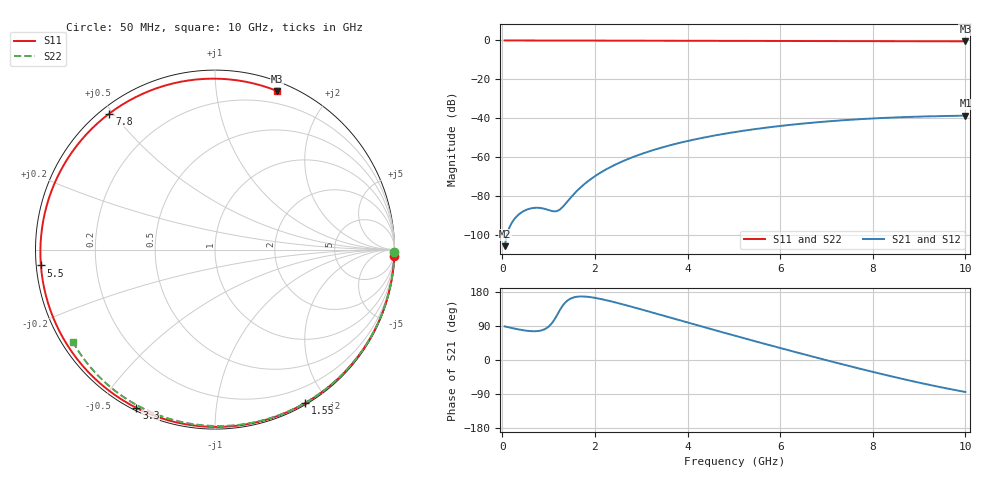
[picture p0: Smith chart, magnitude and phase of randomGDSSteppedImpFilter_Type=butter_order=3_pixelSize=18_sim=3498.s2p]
! freq	dB(S11)	phase(S11)	dB(S12)	phase(S12)
!  dB(S21)	phase(S21)	dB(S22)	phase(S22)
!S-par simulation data
#  GHz  S  DB  R 50
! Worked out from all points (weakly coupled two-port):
!   200 points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, 50 MHz to 10 GHz, reference 50 ohm
!   highest |S21| = -38.64 dB at 10 GHz (marker M1); lowest = -105.7 dB at 50 MHz (marker M2)
!   lowest |S11| = -0.5 dB at 10 GHz (marker M3), VSWR 38.29, Z = 4.11 + j73.2 ohm
!   |S11| at or under -10 dB: nowhere
!   |S22| runs from -0.5 to 0.0 dB; largest |S21 - S12| = 0
!   S11 on the Smith chart (normalised r, x): 50 MHz: 0, -57; 1.55 GHz: 0.02, -1.75; 3.3 GHz: 0.01, -0.62; 5.5 GHz: 0.01, -0.05; 7.8 GHz: 0.03, +0.49; 10 GHz: 0.08, +1.46
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0.05  -0.00 -2.0  -105.66 88.8  -105.66 88.8  -0.00 -0.9
0.4  -0.02 -15.9  -88.55 79.6  -88.55 79.6  -0.01 -6.8
0.75  -0.04 -29.6  -85.93 76.2  -85.93 76.2  -0.02 -12.7
1.15  -0.06 -44.9  -87.76 111.6  -87.76 111.6  -0.02 -19.5
1.5  -0.07 -57.8  -80.11 163.4  -80.11 163.4  -0.03 -25.3
1.55  -0.07 -59.6  -78.81 165.4  -78.81 165.4  -0.03 -26.2
1.75  -0.08 -66.7  -74.23 167.6  -74.23 167.6  -0.04 -29.5
2.05  -0.09 -77.1  -68.94 162.9  -68.94 162.9  -0.04 -34.4
2.4  -0.10 -88.7  -64.26 153.2  -64.26 153.2  -0.05 -40.1
2.85  -0.12 -102.9  -59.63 138.6  -59.63 138.6  -0.06 -47.3
3.3  -0.13 -116.4  -56.01 123.3  -56.01 123.3  -0.07 -54.4
3.4  -0.14 -119.3  -55.30 119.8  -55.30 119.8  -0.07 -56.0
4.25  -0.17 -142.8  -50.36 90.4  -50.36 90.4  -0.10 -69.0
5.05  -0.21 -163.5  -46.95 63.2  -46.95 63.2  -0.12 -80.7
5.5  -0.23 -174.8  -45.40 48.1  -45.40 48.1  -0.14 -87.2
6.1  -0.26 170.4  -43.66 28.4  -43.66 28.4  -0.17 -95.6
6.7  -0.29 155.5  -42.23 9.0  -42.23 9.0  -0.20 -103.8
7.25  -0.33 141.8  -41.16 -8.4  -41.16 -8.4  -0.24 -111.2
7.8  -0.36 127.8  -40.31 -25.3  -40.31 -25.3  -0.28 -118.5
8.35  -0.38 113.5  -39.66 -41.6  -39.66 -41.6  -0.32 -125.7
9.2  -0.42 90.7  -38.99 -65.0  -38.99 -65.0  -0.41 -136.7
10  -0.45 68.6  -38.64 -84.4  -38.64 -84.4  -0.50 -147.0
